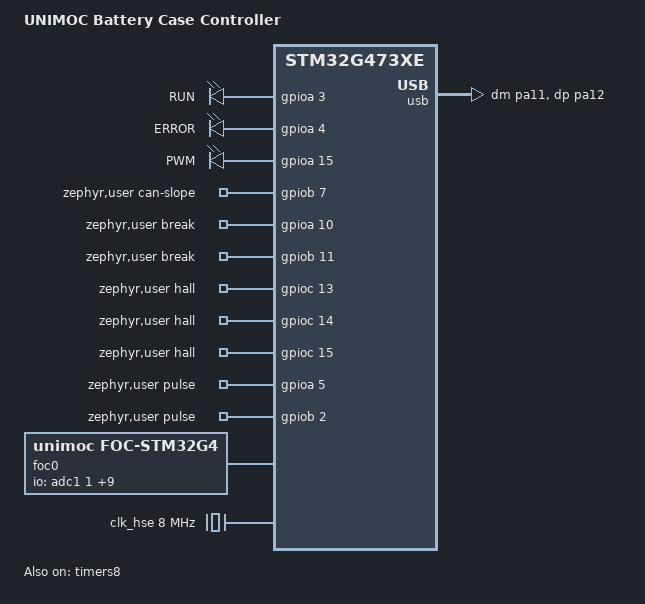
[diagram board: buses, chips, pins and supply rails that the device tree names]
/*
 * UNIMOC Battery Case Controller (BCC), STM32G473CET6 (512 KB flash, 128 KB SRAM).
 *
 * Pin assignment taken from the KiCad netlist of Tecnologic/battery-case-controller.
 * Note: the schematic symbol U43 is an STM32G491CxT, but CAN on PB3/PB4 is FDCAN3
 * and the ADC4/ADC5 inputs only exist on the G473/G474 family.
 *
 * Pin and peripheral assignment of the FOC power stage lives in the foc0
 * node below. The hardware layer (hardware/zephyr_bcc) derives timers, ADCs,
 * pins and interrupts from it; nothing is hard-coded in C++.
 *
 * SPDX-License-Identifier: GPL-3.0-or-later
 */

/dts-v1/;
#include <st/g4/stm32g473Xe.dtsi>
#include <st/g4/stm32g473c(b-c-e)tx-pinctrl.dtsi>

/ {
	model = "UNIMOC Battery Case Controller";
	compatible = "unimoc,bcc";

	chosen {
		zephyr,sram = &sram0;
		zephyr,flash = &flash0;
		zephyr,code-partition = &slot0_partition;
	};

	/* Status LEDs, anode at the MCU pin through 470 R, cathode at GND. */
	leds {
		compatible = "gpio-leds";
		led_run: led-run {
			gpios = <&gpioa 3 GPIO_ACTIVE_HIGH>;
			label = "RUN";
		};
		led_error: led-error {
			gpios = <&gpioa 4 GPIO_ACTIVE_HIGH>;
			label = "ERROR";
		};
		led_pwm: led-pwm {
			gpios = <&gpioa 15 GPIO_ACTIVE_HIGH>;
			label = "PWM";
		};
	};

	/*
	 * Further board signals. Names are the net names of the schematic.
	 * The hardware layer does not use them yet.
	 */
	zephyr,user {
		/* SN65HVD230 Rs pin (net CAN_SLP): low = high speed, high = standby. */
		can-slope-gpios = <&gpiob 7 GPIO_ACTIVE_HIGH>;
		/* Enable input (opto) on the net PWM_BREAK; PA10 is also TIM8_BKIN. */
		break-gpios = <&gpioa 10 GPIO_ACTIVE_HIGH>, <&gpiob 11 GPIO_ACTIVE_HIGH>;
		/* Hall sensors A, B, C (RC filtered, 3k3 / 2n2). */
		hall-gpios = <&gpioc 13 GPIO_ACTIVE_HIGH>,
			     <&gpioc 14 GPIO_ACTIVE_HIGH>,
			     <&gpioc 15 GPIO_ACTIVE_HIGH>;
		/* Pulse inputs: PULSE_CRK (crank), PULSE_MOT (motor aux). */
		pulse-gpios = <&gpioa 5 GPIO_ACTIVE_HIGH>, <&gpiob 2 GPIO_ACTIVE_HIGH>;
	};

	/*
	 * Three-phase power stage.
	 *
	 * TIM8 generates centre-aligned PWM on CH1..CH3 (+ complementary
	 * outputs). TRGO2 (rising OC4REF / rising OC6REF) starts the injected
	 * conversion of ADC1..ADC5 (JEXTSEL 10) a lead before the peak (CC4) and
	 * before the valley (CC6), i.e. centered on the 5 %/95 % duty-limit
	 * window. The end of the ADC1 injected sequence anchors the fast current
	 * control (zero-latency IRQ, once per half period). The TIM8 update event
	 * with RCR = 3 is the second zero-latency IRQ (slow update, every 4th).
	 *
	 * The ADC nodes stay disabled on purpose: the Zephyr ADC driver would
	 * claim the peripherals. Their registers, clocks and IRQ numbers are
	 * still read from the nodes by the driver in hardware/zephyr_bcc.
	 */
	foc0: foc-power-stage {
		compatible = "unimoc,foc-stm32g4";
		status = "okay";

		timer = <&timers8>;

		/*
		 * BSC040N08 with 22 R gate resistors (tau about 100 ns): turn-off
		 * about 250 ns, plus reserve. Estimate, to be tuned on the scope.
		 */
		dead-time-ns = <400>;

		/* Gate driver outputs: high side CHx, low side CHxN. */
		pinctrl-0 = <&tim8_ch1_pb6 &tim8_ch1n_pa7
			     &tim8_ch2_pb8 &tim8_ch2n_pb0
			     &tim8_ch3_pb9 &tim8_ch3n_pb5
			     &tim8_bkin_pa10
			     &analog_pa0 &analog_pa2
			     &analog_pa1 &analog_pa6
			     &analog_pb1 &analog_pb13
			     &analog_pb12 &analog_pb14
			     &analog_pa8 &analog_pa9>;
		pinctrl-names = "default";

		/*
		 * Injected conversion sequence of every ADC: first the current
		 * channel, then the second channel of the same ADC.
		 */
		io-channels = <&adc1 1>, <&adc1 3>,   /* PA0 ia,  PA2 va   */
			      <&adc2 2>, <&adc2 3>,   /* PA1 ib,  PA6 vb   */
			      <&adc3 1>, <&adc3 5>,   /* PB1 ic,  PB13 vc  */
			      <&adc4 3>, <&adc4 4>,   /* PB12 vdc, PB14 crank torque */
			      <&adc5 1>, <&adc5 2>;   /* PA8 motor temp, PA9 bridge temp */
		io-channel-names = "ia", "va",
				   "ib", "vb",
				   "ic", "vc",
				   "vdc", "crank-torque",
				   "motor-temperature", "bridge-temperature";

		/*
		 * ADC clock cycles per channel, same order. Phase currents come
		 * from INA240 amplifiers (low output impedance): short. Dividers
		 * and the NTCs keep the longer time carried over from the
		 * previous firmware.
		 */
		sample-times = "2.5",  "24.5",   /* ia (INA240),  va  */
			       "2.5",  "24.5",   /* ib (INA240),  vb  */
			       "2.5",  "24.5",   /* ic (INA240),  vc  */
			       "24.5", "24.5",   /* vdc, crank torque */
			       "24.5", "24.5";   /* motor temp, bridge temp */
	};
};

/*
 * Break input = external enable (net PWM_BREAK). The Enable connector ties it
 * to 3V3 through 1k when bridged; open it floats, so pull it down: no jumper,
 * no release.
 */
&tim8_bkin_pa10 {
	bias-pull-down;
};

&clk_hse {
	/* 8 MHz crystal X31 with 15 pF load capacitors (no bypass). */
	clock-frequency = <DT_FREQ_M(8)>;
	status = "okay";
};

&pll {
	/* 8 MHz / 2 * 85 / 2 = 170 MHz */
	div-m = <2>;
	mul-n = <85>;
	div-r = <2>;
	clocks = <&clk_hse>;
	status = "okay";
};

&rcc {
	clocks = <&pll>;
	clock-frequency = <DT_FREQ_M(170)>;
	ahb-prescaler = <1>;
	apb1-prescaler = <1>;
	apb2-prescaler = <1>;
};

/* Used by the foc0 driver: enables the timer and its IRQ vectors (NUM_IRQS). */
&timers8 {
	status = "okay";
};

/*
 * CAN: SN65HVD230 on FDCAN3 (PB3 RX, PB4 TX). That transceiver is a classic
 * CAN part (up to 1 Mbit/s), not a CAN FD transceiver. The controller is
 * enabled in the CAN step; it needs a PLLQ based FDCAN clock first.
 */
&fdcan3 {
	pinctrl-0 = <&fdcan3_rx_pb3 &fdcan3_tx_pb4>;
	pinctrl-names = "default";
	status = "disabled";
};

/*
 * USB full speed on PA11/PA12 (debug connector J42). The 48 MHz clock is the
 * HSI48, trimmed by the clock recovery system on the USB start of frame (the
 * 170 MHz PLL gives no 48 MHz on PLLQ; PLLQ stays free for FDCAN). The
 * application adds the CDC ACM console (app/boards/bcc.overlay).
 */
&clk_hsi48 {
	/* CRS on the USB SOF: hardware/zephyr_bcc/usb_clock_recovery.cpp. */
	status = "okay";
};

zephyr_udc0: &usb {
	pinctrl-0 = <&usb_dm_pa11 &usb_dp_pa12>;
	pinctrl-names = "default";
	status = "okay";
};

&flash0 {
	partitions {
		compatible = "fixed-partitions";
		#address-cells = <1>;
		#size-cells = <1>;

		/*
		 * Dual-bank mode (option bit DBANK = 1, the factory default):
		 * bank 1 is 0x00000 to 0x3ffff, bank 2 is 0x40000 to 0x7ffff, 2 KB pages.
		 * Image and settings share bank 1; a settings save runs only with the
		 * power stage disabled (SettingsSaveGate), so its stall of the
		 * instruction fetch is harmless. Bank 2 stays free for the image of a
		 * firmware update over Cyphal, written while bank 1 runs.
		 */
		slot0_partition: partition@0 {
			label = "image-0";
			reg = <0x00000000 DT_SIZE_K(240)>;
		};

		/* Settings: one ZMS entry per register that differs from the factory profile. */
		storage_partition: partition@3c000 {
			label = "storage";
			reg = <0x0003c000 DT_SIZE_K(16)>;
		};
	};
};
